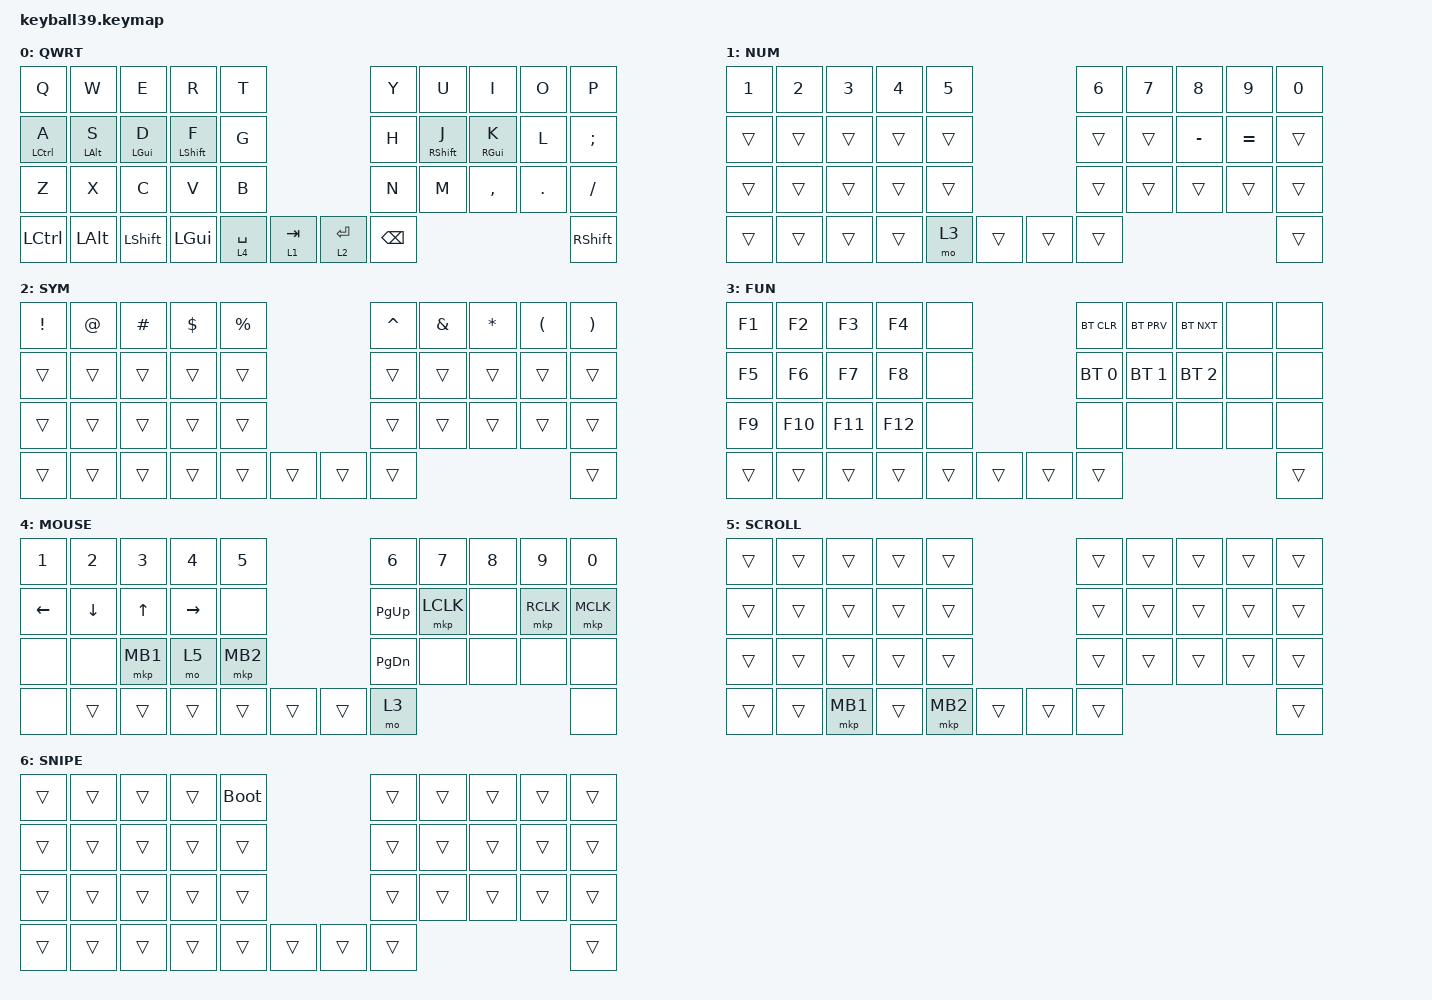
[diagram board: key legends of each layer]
#define DEFAULT 0
#define NUM     1
#define SYM     2
#define FUN     3
#define MOUSE   4
#define SCROLL  5
#define SNIPE   6

#include <behaviors/mouse_keys.dtsi>
#include <dt-bindings/zmk/mouse.h>
#include <behaviors.dtsi>
#include <dt-bindings/zmk/bt.h>
#include <dt-bindings/zmk/keys.h>
#include <dt-bindings/zmk/pointing.h>

&lt {
    tapping-term-ms = <240>;
    flavor = "balanced";
    quick-tap-ms = <150>;
};

&mt {
    tapping-term-ms = <200>;
    flavor = "tap-preferred";
    quick-tap-ms = <150>;
};

&caps_word { continue-list = <UNDERSCORE MINUS>; };

/ {
    // custom shift using mod-morph 

    behaviors {
        cmqus: comma_question {
            compatible = "zmk,behavior-mod-morph";
            label = "COMMA_QUESTION";
            #binding-cells = <0>;
            bindings = <&kp COMMA>, <&kp QUESTION>;

            mods = <(MOD_LSFT|MOD_RSFT)>;
        };

        dtsmi: dot_semi {
            compatible = "zmk,behavior-mod-morph";
            label = "DOT_SEMI";
            #binding-cells = <0>;
            bindings = <&kp DOT>, <&kp SEMI>;

            mods = <(MOD_LSFT|MOD_RSFT)>;
        };
lhht: left-hand-hold-tap {
            compatible = "zmk,behavior-hold-tap";
            label = "LEFT_HOLD_TAP";
            bindings = <&kp>, <&kp>;

            #binding-cells = <2>;
            tapping-term-ms = <200>;
            flavor = "tap-preferred";
            quick-tap-ms = <125>;
            global-quick-tap;
            hold-trigger-key-positions = <0 1 2 3 4 10 11 12 13 14 20 21 22 23 24 30 31 32>;
        };

        rhht: rhht {
            compatible = "zmk,behavior-hold-tap";
            label = "RHHT";
            bindings = <&kp>, <&kp>;

            #binding-cells = <2>;
            tapping-term-ms = <200>;
            flavor = "tap-preferred";
            quick-tap-ms = <125>;
            global-quick-tap;
            hold-trigger-key-positions = <5 6 7 8 9 15 16 17 18 19 25 26 27 28 29 33 34 35>;
        };
    };

    macros {
        Hiragana: Hiragana {
            compatible = "zmk,behavior-macro";
            #binding-cells = <0>;
            bindings = <&kp LC(SPACE)>;
            label = "HIRAGANA";
        };
    };

 combos {
        compatible = "zmk,combos";

        caps {
            bindings = <&kp CAPSLOCK>;
            key-positions = <10 20>;
        };

        esc {
            bindings = <&kp ESCAPE>;
            key-positions = <0 1>;
        };

        bs {
            bindings = <&kp GRAVE>;
            key-positions = <0 10>;
        };

        lbkt {
            bindings = <&kp LEFT_BRACKET>;
            key-positions = <8 9>;
        };

        rbkt {
            bindings = <&kp RIGHT_BRACKET>;
            key-positions = <18 19>;
        };

        app {
            bindings = <&kp SQT>;
            key-positions = <19 29>;
        };

        bss {
            bindings = <&kp BACKSLASH>;
            key-positions = <9 19>;
        };
    };
    keymap {
        compatible = "zmk,keymap";

        default_layer {
            label = "QWRT";
            bindings = <
&kp Q      &kp W         &kp E      &kp R         &kp T                                &kp Y          &kp U  &kp I      &kp O    &kp P
&lhht LCTRL A  &lhht LEFT_ALT S  &lhht LEFT_GUI D  &lhht LEFT_SHIFT F  &kp G        &kp H        &rhht RSHFT J  &rhht RIGHT_GUI K  &kp L    &kp SEMICOLON
&kp Z      &kp X         &kp C      &kp V         &kp B                                &kp N          &kp M  &kp COMMA  &kp DOT  &kp SLASH
&kp LCTRL  &kp LEFT_ALT  &kp LSHFT  &kp LEFT_GUI  &lt 4 SPACE  &lt 1 TAB  &lt 2 ENTER  &kp BACKSPACE                             &kp RSHFT
            >;
        };

        number_layer {
            label = "NUM";
            bindings = <
&kp NUMBER_1  &kp NUMBER_2  &kp NUMBER_3  &kp NUMBER_4  &kp NUMBER_5                 &kp NUMBER_6  &kp NUMBER_7  &kp NUMBER_8  &kp NUMBER_9  &kp NUMBER_0
&trans        &trans        &trans        &trans        &trans                       &trans        &trans        &kp MINUS     &kp EQUAL     &trans
&trans        &trans        &trans        &trans        &trans                       &trans        &trans        &trans        &trans        &trans
&trans        &trans        &trans        &trans        &mo 3 &trans         &trans  &trans                                                  &trans
            >;
        };

        symbol_layer {
            label = "SYM";
            bindings = <
&kp EXCLAMATION  &kp AT_SIGN  &kp HASH  &kp DOLLAR  &kp PERCENT                  &kp CARET  &kp AMPERSAND  &kp ASTERISK  &kp LEFT_PARENTHESIS  &kp RIGHT_PARENTHESIS
&trans           &trans       &trans    &trans      &trans                       &trans     &trans         &trans        &trans                &trans
&trans           &trans       &trans    &trans      &trans                       &trans     &trans         &trans        &trans                &trans
&trans           &trans       &trans    &trans      &trans       &trans  &trans  &trans                                                        &trans
            >;
        };

        function_layer {
            label = "FUN";
            bindings = <
&kp F1  &kp F2   &kp F3   &kp F4   &none                   &bt BT_CLR    &bt BT_PRV    &bt BT_NXT    &none  &none
&kp F5  &kp F6   &kp F7   &kp F8   &none                   &bt BT_SEL 0  &bt BT_SEL 1  &bt BT_SEL 2  &none  &none
&kp F9  &kp F10  &kp F11  &kp F12  &none                   &none         &none         &none         &none  &none
&trans  &trans   &trans   &trans   &trans  &trans  &trans  &trans                                           &trans
            >;
        };

        mouse_layer {
            label = "MOUSE";
            bindings = <
&kp N1          &kp N2          &kp N3        &kp N4     &kp N5                    &kp N6         &kp N7     &kp N8  &kp N9     &kp N0
&kp LEFT_ARROW  &kp DOWN_ARROW  &kp UP_ARROW  &kp RIGHT  &none                     &kp PAGE_UP    &mkp LCLK  &none   &mkp RCLK  &mkp MCLK
&none           &none           &mkp MB1      &mo 5      &mkp MB2                  &kp PAGE_DOWN  &none      &none   &none      &none
&none           &trans          &trans        &trans     &trans    &trans  &trans  &mo 3                                        &none
            >;
        };

        scroll_layer {
            label = "SCROLL";
            bindings = <
&trans  &trans  &trans  &trans  &trans                  &trans  &trans  &trans  &trans  &trans
&trans  &trans  &trans  &trans  &trans                  &trans  &trans  &trans  &trans  &trans
&trans  &trans  &trans  &trans  &trans                  &trans  &trans  &trans  &trans  &trans
&trans  &trans  &mkp MB1  &trans  &mkp MB2  &trans  &trans  &trans                          &trans
            >;
        };

        snipe_layer {
            label = "SNIPE";
            bindings = <
&trans  &trans  &trans  &trans  &bootloader                  &trans  &trans  &trans  &trans  &trans
&trans  &trans  &trans  &trans  &trans                       &trans  &trans  &trans  &trans  &trans
&trans  &trans  &trans  &trans  &trans                       &trans  &trans  &trans  &trans  &trans
&trans  &trans  &trans  &trans  &trans       &trans  &trans  &trans                          &trans
            >;
        };
    };
};
